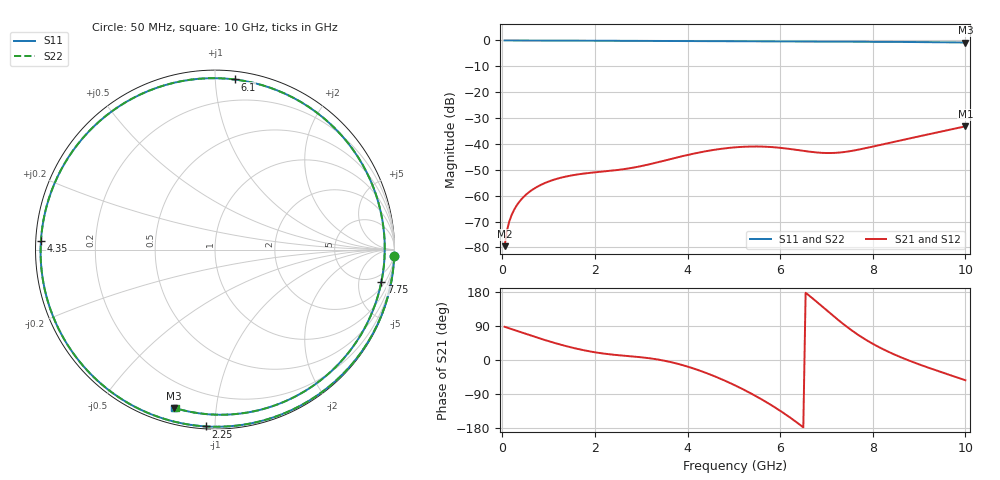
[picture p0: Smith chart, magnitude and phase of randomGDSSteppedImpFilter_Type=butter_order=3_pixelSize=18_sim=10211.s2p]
! freq	dB(S11)	phase(S11)	dB(S12)	phase(S12)
!  dB(S21)	phase(S21)	dB(S22)	phase(S22)
!S-par simulation data
#  GHz  S  DB  R 50
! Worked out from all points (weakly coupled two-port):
!   200 points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, 50 MHz to 10 GHz, reference 50 ohm
!   highest |S21| = -33.19 dB at 10 GHz (marker M1); lowest = -79.5 dB at 50 MHz (marker M2)
!   lowest |S11| = -0.8 dB at 10 GHz (marker M3), VSWR 21.35, Z = 3.74 - j38.6 ohm
!   |S11| at or under -10 dB: nowhere
!   |S22| runs from -0.8 to 0.0 dB; largest |S21 - S12| = 0
!   S11 on the Smith chart (normalised r, x): 50 MHz: 1, -53; 2.25 GHz: 0.01, -0.95; 4.35 GHz: 0.01, +0.02; 6.1 GHz: 0.05, +1.12; 7.75 GHz: 2.81, -9.44; 10 GHz: 0.07, -0.77
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0.05  -0.01 -2.1  -79.49 87.6  -79.49 87.6  -0.01 -2.1
0.1  -0.01 -4.2  -73.50 85.6  -73.50 85.6  -0.01 -4.3
0.2  -0.01 -8.5  -67.52 81.5  -67.52 81.5  -0.01 -8.5
0.35  -0.02 -14.8  -62.75 75.3  -62.75 75.3  -0.02 -14.8
0.5  -0.02 -21.1  -59.78 69.1  -59.78 69.1  -0.02 -21.1
1  -0.05 -41.9  -54.51 49.7  -54.51 49.7  -0.05 -41.9
1.75  -0.09 -72.7  -51.46 26.0  -51.46 26.0  -0.09 -72.7
2.25  -0.12 -93.0  -50.52 16.0  -50.52 16.0  -0.12 -93.0
2.8  -0.15 -115.4  -49.24 9.5  -49.24 9.5  -0.15 -115.4
3.4  -0.18 -140.4  -46.89 0.4  -46.89 0.4  -0.18 -140.4
3.9  -0.22 -162.1  -44.67 -13.8  -44.67 -13.8  -0.22 -162.1
4.35  -0.25 177.3  -42.95 -31.8  -42.95 -31.8  -0.25 177.4
4.7  -0.29 160.3  -41.94 -48.9  -41.94 -48.9  -0.28 160.5
5.05  -0.32 142.4  -41.27 -68.3  -41.27 -68.3  -0.32 142.6
5.6  -0.37 112.4  -41.01 -103.9  -41.01 -103.9  -0.37 112.7
6.1  -0.41 83.3  -41.68 -142.1  -41.68 -142.1  -0.41 83.7
6.7  -0.44 47.6  -43.12 162.6  -43.12 162.6  -0.44 48.0
7.2  -0.47 18.6  -43.43 111.1  -43.43 111.1  -0.47 19.1
7.75  -0.50 -11.1  -41.98 61.1  -41.98 61.1  -0.50 -10.6
8.35  -0.55 -40.1  -39.60 21.0  -39.60 21.0  -0.54 -39.6
9.15  -0.65 -73.5  -36.48 -18.1  -36.48 -18.1  -0.65 -73.0
10  -0.81 -104.5  -33.19 -53.4  -33.19 -53.4  -0.81 -103.9
